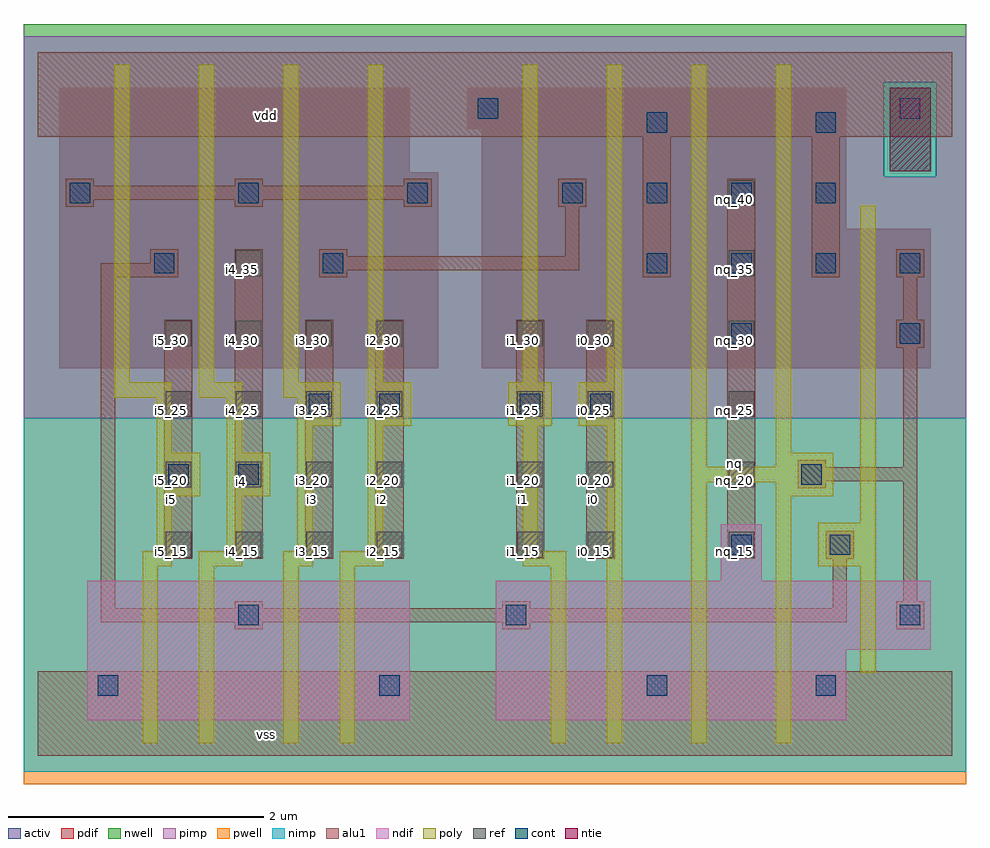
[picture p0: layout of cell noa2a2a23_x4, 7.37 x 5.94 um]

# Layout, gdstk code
import gdstk
lib = gdstk.Library(unit=1e-6, precision=2.5e-09)
def R(c, l, rs):  # rectangles x0, y0, x1, y1
    for r in rs: c.add(gdstk.rectangle(r[:2], r[2:], *l))
def A(c, l, x, y, w, h, nx, ny, dx, dy):  # array of equal rectangles
    R(c, l, [(x+i*dx, y+j*dy, x+i*dx+w, y+j*dy+h) for i in range(nx) for j in range(ny)])
ndif = (3, 0)
pdif = (4, 0)
ntie = (5, 0)
ref = (24, 0)
cont = (25, 0)
pwell = (41, 0)
nwell = (42, 0)
activ = (43, 0)
pimp = (44, 0)
nimp = (45, 0)
poly = (46, 0)
alu1 = (49, 0)

noa2a2a23_x4 = lib.new_cell('noa2a2a23_x4')
R(noa2a2a23_x4, ndif, [(0.39,0.28,2.91,1.37), (0.39,0.28,2.91,1.37), (3.58,0.28,6.32,0.83), (3.58,0.28,6.32,0.83), (3.58,0.83,6.98,1.37), (3.58,0.83,6.98,1.37), (5.34,1.37,5.66,1.81), (5.34,1.37,5.66,1.81)])
R(noa2a2a23_x4, pdif, [(0.17,3.03,3.13,4.56), (0.17,3.03,3.13,4.56), (3.47,3.03,6.98,4.12), (3.47,3.03,6.98,4.12), (3.47,4.12,6.32,4.9), (3.47,4.12,6.32,4.9), (0.17,4.56,2.91,5.22), (0.17,4.56,2.91,5.22), (3.36,4.9,6.32,5.22), (3.36,4.9,6.32,5.22)])
R(noa2a2a23_x4, ntie, [(6.66,4.57,6.98,5.22), (6.66,4.57,6.98,5.22)])
A(noa2a2a23_x4, ref, 1, 1.55, 0.2, 0.2, 4, 4, 0.55, 0.55)
A(noa2a2a23_x4, ref, 3.75, 1.55, 0.2, 0.2, 1, 4, 0, 0.55)
A(noa2a2a23_x4, ref, 4.3, 1.55, 0.2, 0.2, 1, 4, 0, 0.55)
A(noa2a2a23_x4, ref, 5.4, 1.55, 0.2, 0.2, 1, 6, 0, 0.55)
R(noa2a2a23_x4, ref, [(1.55,3.75,1.75,3.95)])
A(noa2a2a23_x4, cont, 4.76, 3.77, 0.16, 0.16, 4, 1, 0.66, 0)
A(noa2a2a23_x4, cont, 0.25, 4.32, 0.16, 0.16, 3, 1, 1.32, 0)
A(noa2a2a23_x4, cont, 4.1, 4.32, 0.16, 0.16, 4, 1, 0.66, 0)
R(noa2a2a23_x4, cont, [(0.47,0.47,0.63,0.63), (2.67,0.47,2.83,0.63), (4.76,0.47,4.92,0.63), (6.08,0.47,6.24,0.63), (1.57,1.02,1.73,1.18), (3.66,1.02,3.82,1.18), (6.74,1.02,6.9,1.18), (5.42,1.57,5.58,1.73), (6.19,1.57,6.35,1.73), (1.02,2.12,1.18,2.28), (1.57,2.12,1.73,2.28), (5.97,2.12,6.13,2.28), (2.12,2.67,2.28,2.83), (2.67,2.67,2.83,2.83), (3.77,2.67,3.93,2.83), (4.32,2.67,4.48,2.83), (5.42,3.22,5.58,3.38), (6.74,3.22,6.9,3.38), (0.91,3.77,1.07,3.93), (2.23,3.77,2.39,3.93), (4.76,4.87,4.92,5.03), (6.08,4.87,6.24,5.03), (3.44,4.98,3.6,5.14), (6.74,4.98,6.9,5.14)])
R(noa2a2a23_x4, pwell, [(-0.11,-0.22,7.26,2.64)])
R(noa2a2a23_x4, nwell, [(-0.11,2.64,7.26,5.72)])
R(noa2a2a23_x4, activ, [(0.39,0.28,2.91,1.37), (0.39,0.28,2.91,1.37), (3.58,0.28,6.32,0.83), (3.58,0.28,6.32,0.83), (3.58,0.83,6.98,1.37), (3.58,0.83,6.98,1.37), (5.34,1.37,5.66,1.81), (5.34,1.37,5.66,1.81), (0.17,3.03,3.13,4.56), (0.17,3.03,3.13,4.56), (3.47,3.03,6.98,4.12), (3.47,3.03,6.98,4.12), (3.47,4.12,6.32,4.9), (3.47,4.12,6.32,4.9), (0.17,4.56,2.91,5.22), (0.17,4.56,2.91,5.22), (6.66,4.57,6.98,5.22), (6.66,4.57,6.98,5.22), (3.36,4.9,6.32,5.22), (3.36,4.9,6.32,5.22)])
R(noa2a2a23_x4, pimp, [(-0.11,2.64,7.26,4.525), (-0.11,4.525,6.615,5.265), (7.025,4.525,7.26,5.265), (-0.11,5.265,7.26,5.625)])
R(noa2a2a23_x4, nimp, [(-0.11,-0.125,7.26,2.64), (6.615,4.525,7.025,5.265)])
A(noa2a2a23_x4, poly, 0.6, 2.92, 0.12, 2.48, 4, 1, 0.66, 0)
R(noa2a2a23_x4, poly, [(0.82,0.1,0.94,1.48), (1.26,0.1,1.38,1.48), (1.92,0.1,2.04,1.48), (2.36,0.1,2.48,1.48), (4.01,0.1,4.13,1.48), (4.45,0.1,4.57,2.58), (5.11,0.1,5.23,2.14), (5.77,0.1,5.89,2.03), (6.43,0.65,6.55,1.48), (0.82,1.48,1.05,1.6), (1.26,1.48,1.6,1.6), (1.92,1.48,2.15,1.6), (2.36,1.48,2.7,1.6), (3.79,1.48,4.13,1.6), (6.1,1.48,6.55,1.82), (0.93,1.6,1.05,2.03), (1.48,1.6,1.6,2.03), (2.03,1.6,2.15,2.58), (2.58,1.6,2.7,2.58), (3.79,1.6,3.91,2.58), (6.43,1.82,6.55,4.3), (0.93,2.03,1.27,2.37), (1.48,2.03,1.82,2.37), (5.77,2.03,6.22,2.14), (5.11,2.14,6.22,2.26), (5.11,2.26,5.23,5.4), (5.77,2.26,6.22,2.37), (0.93,2.37,1.05,2.8), (1.48,2.37,1.6,2.8), (5.77,2.37,5.89,5.4), (2.03,2.58,2.37,2.8), (2.58,2.58,2.92,2.92), (3.68,2.58,4.02,2.92), (4.23,2.58,4.57,2.92), (0.6,2.8,1.05,2.92), (1.26,2.8,1.6,2.92), (1.92,2.8,2.37,2.92), (3.79,2.92,3.91,5.4), (4.45,2.92,4.57,5.4)])
A(noa2a2a23_x4, alu1, 0.22, 4.29, 0.22, 0.055, 3, 2, 1.32, 0.165)
R(noa2a2a23_x4, alu1, [(0,0,7.15,0.66), (1.54,0.99,1.76,1.045), (3.63,0.99,3.85,1.045), (6.71,0.99,6.93,1.21), (0.495,1.045,6.325,1.155), (0.495,1.155,0.605,3.74), (1.54,1.155,1.76,1.21), (3.63,1.155,3.85,1.21), (6.215,1.155,6.325,1.54), (6.765,1.21,6.875,2.145), (0.99,1.54,1.21,3.41), (1.54,1.54,1.76,3.96), (2.09,1.54,2.31,3.41), (2.64,1.54,2.86,3.41), (3.74,1.54,3.96,3.41), (4.29,1.54,4.51,3.41), (5.39,1.54,5.61,4.51), (6.16,1.54,6.38,1.76), (5.94,2.09,6.16,2.145), (5.94,2.145,6.875,2.255), (5.94,2.255,6.16,2.31), (6.765,2.255,6.875,3.19), (6.71,3.19,6.93,3.41), (6.765,3.41,6.875,3.74), (0.495,3.74,1.1,3.85), (2.2,3.74,2.42,3.795), (4.73,3.74,4.95,4.84), (6.05,3.74,6.27,4.84), (6.71,3.74,6.93,3.96), (2.2,3.795,4.235,3.905), (0.88,3.85,1.1,3.96), (2.2,3.905,2.42,3.96), (4.125,3.905,4.235,4.29), (4.07,4.29,4.29,4.51), (0.22,4.345,3.08,4.455), (0,4.84,7.15,5.5)])
noa2a2a23_x4.add(gdstk.Label('vss', (1.7875,0.165), layer=49, texttype=0))
noa2a2a23_x4.add(gdstk.Label('nq', (5.445,2.2825), layer=49, texttype=0))
noa2a2a23_x4.add(gdstk.Label('i0', (4.345,2.0075), layer=49, texttype=0))
noa2a2a23_x4.add(gdstk.Label('i1', (3.795,2.0075), layer=49, texttype=0))
noa2a2a23_x4.add(gdstk.Label('i2', (2.695,2.0075), layer=49, texttype=0))
noa2a2a23_x4.add(gdstk.Label('i3', (2.145,2.0075), layer=49, texttype=0))
noa2a2a23_x4.add(gdstk.Label('i4', (1.595,2.145), layer=49, texttype=0))
noa2a2a23_x4.add(gdstk.Label('i5', (1.045,2.0075), layer=49, texttype=0))
noa2a2a23_x4.add(gdstk.Label('vdd', (1.7875,5.005), layer=49, texttype=0))
noa2a2a23_x4.add(gdstk.Label('nq_40', (5.45,4.35), layer=24, texttype=0))
noa2a2a23_x4.add(gdstk.Label('nq_15', (5.45,1.6), layer=24, texttype=0))
noa2a2a23_x4.add(gdstk.Label('nq_35', (5.45,3.8), layer=24, texttype=0))
noa2a2a23_x4.add(gdstk.Label('nq_30', (5.45,3.25), layer=24, texttype=0))
noa2a2a23_x4.add(gdstk.Label('nq_25', (5.45,2.7), layer=24, texttype=0))
noa2a2a23_x4.add(gdstk.Label('nq_20', (5.45,2.15), layer=24, texttype=0))
noa2a2a23_x4.add(gdstk.Label('i0_15', (4.35,1.6), layer=24, texttype=0))
noa2a2a23_x4.add(gdstk.Label('i0_30', (4.35,3.25), layer=24, texttype=0))
noa2a2a23_x4.add(gdstk.Label('i1_30', (3.8,3.25), layer=24, texttype=0))
noa2a2a23_x4.add(gdstk.Label('i1_25', (3.8,2.7), layer=24, texttype=0))
noa2a2a23_x4.add(gdstk.Label('i1_15', (3.8,1.6), layer=24, texttype=0))
noa2a2a23_x4.add(gdstk.Label('i1_20', (3.8,2.15), layer=24, texttype=0))
noa2a2a23_x4.add(gdstk.Label('i0_25', (4.35,2.7), layer=24, texttype=0))
noa2a2a23_x4.add(gdstk.Label('i0_20', (4.35,2.15), layer=24, texttype=0))
noa2a2a23_x4.add(gdstk.Label('i4_35', (1.6,3.8), layer=24, texttype=0))
noa2a2a23_x4.add(gdstk.Label('i4_30', (1.6,3.25), layer=24, texttype=0))
noa2a2a23_x4.add(gdstk.Label('i4_25', (1.6,2.7), layer=24, texttype=0))
noa2a2a23_x4.add(gdstk.Label('i4_20', (1.6,2.15), layer=24, texttype=0))
noa2a2a23_x4.add(gdstk.Label('i4_15', (1.6,1.6), layer=24, texttype=0))
noa2a2a23_x4.add(gdstk.Label('i3_20', (2.15,2.15), layer=24, texttype=0))
noa2a2a23_x4.add(gdstk.Label('i2_30', (2.7,3.25), layer=24, texttype=0))
noa2a2a23_x4.add(gdstk.Label('i2_25', (2.7,2.7), layer=24, texttype=0))
noa2a2a23_x4.add(gdstk.Label('i2_20', (2.7,2.15), layer=24, texttype=0))
noa2a2a23_x4.add(gdstk.Label('i2_15', (2.7,1.6), layer=24, texttype=0))
noa2a2a23_x4.add(gdstk.Label('i3_30', (2.15,3.25), layer=24, texttype=0))
noa2a2a23_x4.add(gdstk.Label('i3_25', (2.15,2.7), layer=24, texttype=0))
noa2a2a23_x4.add(gdstk.Label('i3_15', (2.15,1.6), layer=24, texttype=0))
noa2a2a23_x4.add(gdstk.Label('i5_15', (1.05,1.6), layer=24, texttype=0))
noa2a2a23_x4.add(gdstk.Label('i5_30', (1.05,3.25), layer=24, texttype=0))
noa2a2a23_x4.add(gdstk.Label('i5_25', (1.05,2.7), layer=24, texttype=0))
noa2a2a23_x4.add(gdstk.Label('i5_20', (1.05,2.15), layer=24, texttype=0))

lib.write_gds('noa2a2a23_x4.gds')
